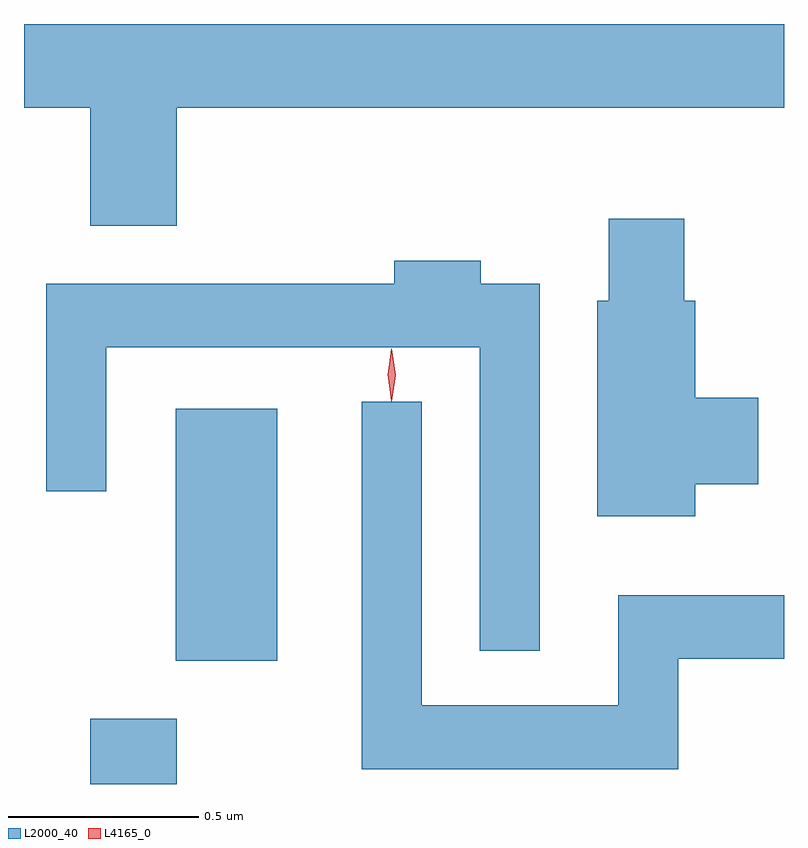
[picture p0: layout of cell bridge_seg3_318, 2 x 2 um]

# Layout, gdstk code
import gdstk
lib = gdstk.Library(unit=1e-6, precision=1e-09)
def R(c, l, rs):  # rectangles x0, y0, x1, y1
    for r in rs: c.add(gdstk.rectangle(r[:2], r[2:], *l))
def P(c, l, *ps):  # polygons
    for p in ps: c.add(gdstk.Polygon(p, *l))
L2000_40 = (2000, 40)
L4165_0 = (4165, 0)

bridge_seg3_318 = lib.new_cell('bridge_seg3_318')
R(bridge_seg3_318, L2000_40, [(573.571,1164.197,573.799,1164.369), (573.796,1164.521,574.064,1165.184)])
P(bridge_seg3_318, L2000_40, [(573.799,1165.976),(575.397,1165.976),(575.397,1166.197),(573.397,1166.197),(573.397,1165.976),(573.571,1165.976),(573.571,1165.666),(573.799,1165.666)],
  [(575.164,1164.986),(575.329,1164.986),(575.329,1165.214),(575.164,1165.214),(575.164,1165.469),(575.134,1165.469),(575.134,1165.684),(574.936,1165.684),(574.936,1165.469),(574.906,1165.469),(574.906,1164.901),(575.164,1164.901)],
  [(574.754,1165.514),(574.599,1165.514),(574.599,1165.574),(574.371,1165.574),(574.371,1165.514),(573.456,1165.514),(573.456,1164.968),(573.614,1164.968),(573.614,1165.346),(574.596,1165.346),(574.596,1164.548),(574.754,1164.548)],
  [(575.119,1164.526),(575.397,1164.526),(575.397,1164.694),(574.961,1164.694),(574.961,1164.404),(574.444,1164.404),(574.444,1165.203),(574.286,1165.203),(574.286,1164.236),(575.119,1164.236)])
P(bridge_seg3_318, L4165_0, [(574.364,1165.207),(574.364,1165.207),(574.354,1165.274),(574.364,1165.34),(574.364,1165.34),(574.365,1165.34),(574.374,1165.274),(574.365,1165.207)],
  [(574.364,1165.204),(574.355,1165.273),(574.364,1165.342),(574.365,1165.343),(574.365,1165.342),(574.375,1165.273),(574.365,1165.204),(574.365,1165.204)])

lib.write_gds('bridge_seg3_318.gds')
